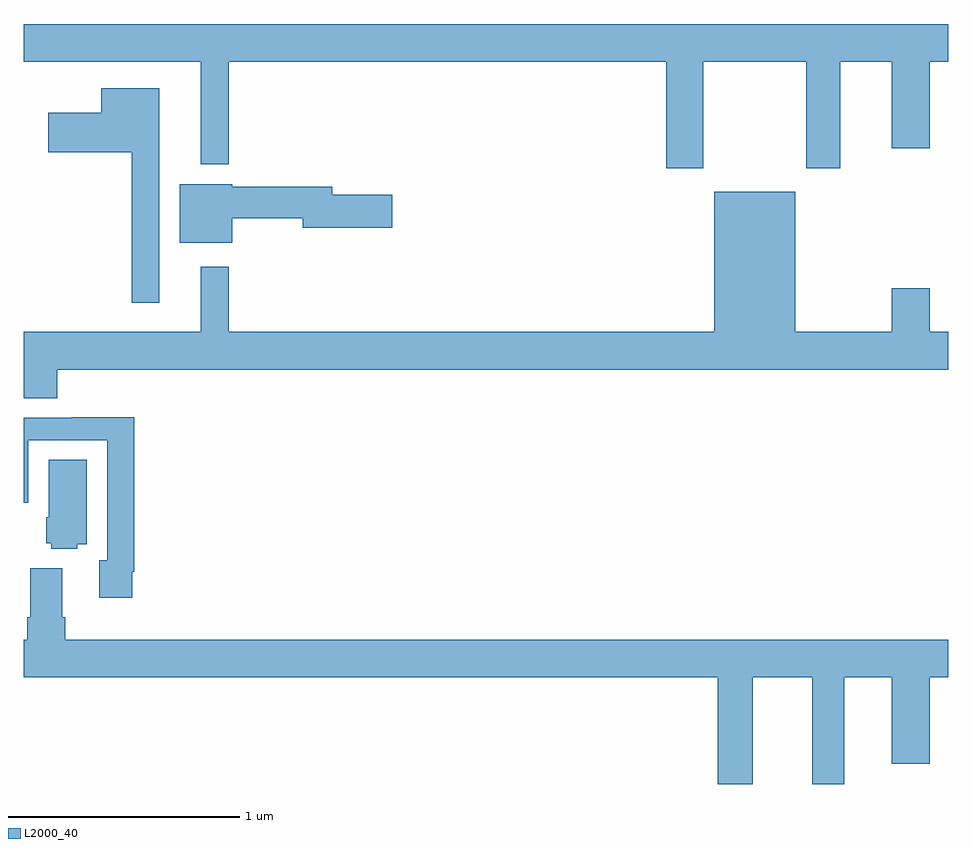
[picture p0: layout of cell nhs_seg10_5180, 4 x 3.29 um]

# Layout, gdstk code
import gdstk
lib = gdstk.Library(unit=1e-6, precision=1e-09)
def P(c, l, *ps):  # polygons
    for p in ps: c.add(gdstk.Polygon(p, *l))
L2000_40 = (2000, 40)

nhs_seg10_5180 = lib.new_cell('nhs_seg10_5180')
P(nhs_seg10_5180, L2000_40, [(415.941,1257.692),(416.386,1257.692),(416.386,1257.231),(416.533,1257.231),(416.533,1257.692),(416.756,1257.692),(416.756,1257.318),(416.92,1257.318),(416.92,1257.692),(417,1257.692),(417,1257.856),(413,1257.856),(413,1257.692),(413.765,1257.692),(413.765,1257.248),(413.887,1257.248),(413.887,1257.692),(415.781,1257.692),(415.781,1257.231),(415.941,1257.231)],
  [(413.587,1257.577),(413.336,1257.577),(413.336,1257.472),(413.106,1257.472),(413.106,1257.302),(413.466,1257.302),(413.466,1256.649),(413.587,1256.649)],
  [(413.902,1257.016),(414.206,1257.016),(414.206,1256.974),(414.595,1256.974),(414.595,1257.116),(414.334,1257.116),(414.334,1257.152),(413.902,1257.152),(413.902,1257.163),(413.675,1257.163),(413.675,1256.909),(413.902,1256.909)],
  [(413.144,1256.36),(417,1256.36),(417,1256.524),(416.92,1256.524),(416.92,1256.713),(416.756,1256.713),(416.756,1256.524),(416.338,1256.524),(416.338,1257.13),(415.988,1257.13),(415.988,1256.524),(413.887,1256.524),(413.887,1256.806),(413.765,1256.806),(413.765,1256.524),(413,1256.524),(413,1256.236),(413.144,1256.236)],
  [(413.47,1255.486),(413.477,1255.486),(413.477,1256.155),(413.207,1256.155),(413.207,1256.151),(413,1256.151),(413,1255.785),(413.019,1255.785),(413.019,1256.055),(413.361,1256.055),(413.361,1255.535),(413.327,1255.535),(413.327,1255.374),(413.47,1255.374)],
  [(413.232,1255.604),(413.272,1255.604),(413.272,1255.97),(413.108,1255.97),(413.108,1255.722),(413.096,1255.722),(413.096,1255.608),(413.118,1255.608),(413.118,1255.586),(413.232,1255.586)],
  [(416.155,1255.028),(416.411,1255.028),(416.411,1254.567),(416.551,1254.567),(416.551,1255.028),(416.756,1255.028),(416.756,1254.654),(416.92,1254.654),(416.92,1255.028),(417,1255.028),(417,1255.192),(413.18,1255.192),(413.18,1255.288),(413.167,1255.288),(413.167,1255.501),(413.027,1255.501),(413.027,1255.288),(413.015,1255.288),(413.015,1255.192),(413,1255.192),(413,1255.028),(416.003,1255.028),(416.003,1254.567),(416.155,1254.567)])

lib.write_gds('nhs_seg10_5180.gds')
